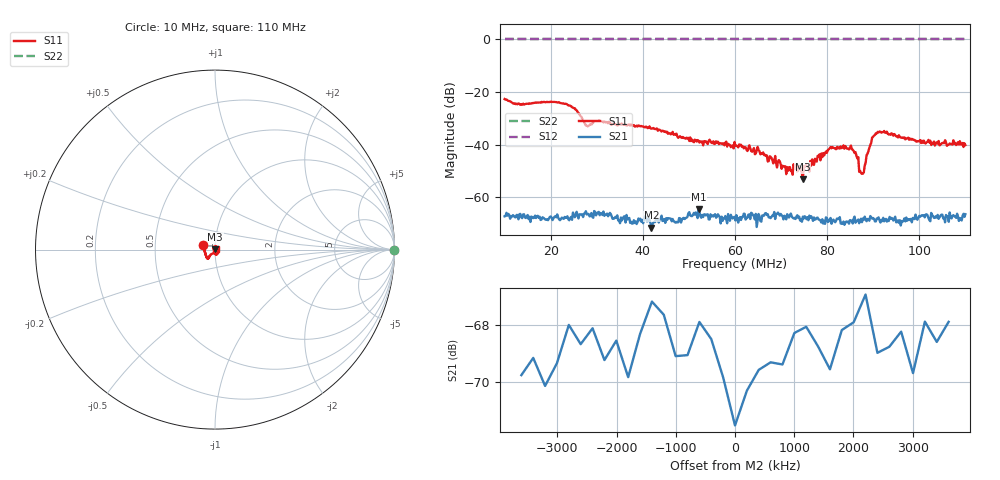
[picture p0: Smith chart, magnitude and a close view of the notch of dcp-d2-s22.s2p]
! Anritsu VNA Master:  Model: MS2034B/10/19/501
! SN:  1337062
! /bd0/ovro-jan-2016/dcp-d2-s22.s2p
! Existing Calibration Information:
! TYPE:  Current Settings,  Active Cal Settings
! TIME:  01/08/2016 09:02:06 PM,  01/08/2016 08:43:08 PM
! INTERNAL TEMP:  42.8 C,  45.0 C
! # POINTS:  500,  500
! START FREQ:  10.000 MHz,  10.000 MHz
! STOP FREQ:  110.000 MHz,  110.000 MHz
! SOURCE POWER:  Low,  Low
! IFBW:  100 Hz,  100 Hz
! AVG FACTOR:  3 ,  3
! REF PLANE 1:  2.2245 m,  2.2245 m
! REF PLANE 2:  0 mm,  0 mm
! CAL TYPE:  1P2P S11,S21,  1P2P S11,S21
! CAL METHOD:  SOLT,  SOLT
! CAL LINE TYPE:  Coax,  Coax
! DUT PORT 1:  K-Conn(M),  K-Conn(M)
! DUT PORT 2:  N-Conn(M),  N-Conn(M)
! CAL STATUS:  OK: Accuracy High,  --
# GHZ S DB R 50.0
! FREQ.GHZ  S11DB  S11A  S21DB  S21A  S12DB  S12A  S22DB  S22A
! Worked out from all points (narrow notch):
!   500 points, 10 MHz to 110 MHz, reference 50 ohm
!   highest |S21| = -64.46 dB at 52.08 MHz (marker M1); lowest = -71.5 dB at 41.86 MHz (marker M2)
!   notch at M2: 3.7 dB deep, 604 kHz wide at half that depth
!   lowest |S11| = -53.1 dB at 74.73 MHz (marker M3), VSWR 1.00, Z = 50 + j0.22 ohm
!   |S11| at or under -10 dB: start of sweep to end of sweep
!   |S22| runs from 0.0 to 0.0 dB; largest |S21 - S12| = 1
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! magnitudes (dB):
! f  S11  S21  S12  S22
! 10 MHz  -22.7  -67.2  0.0  0.0
! 23.23 MHz  -24.6  -67.8  0.0  0.0
! 26.83 MHz  -30.1  -66.5  0.0  0.0
! 28.04 MHz  -33.1  -66.3  0.0  0.0
! 30.44 MHz  -30.9  -65.5  0.0  0.0
! 41.86 MHz  -34.0  -71.5  0.0  0.0
! 43.47 MHz  -34.4  -69.6  0.0  0.0
! 47.27 MHz  -35.8  -69.3  0.0  0.0
! 52.08 MHz  -38.6  -64.5  0.0  0.0
! 60.1 MHz  -40.5  -68.8  0.0  0.0
! 65.11 MHz  -42.1  -66.3  0.0  0.0
! 66.71 MHz  -44.3  -66.0  0.0  0.0
! 71.12 MHz  -51.2  -68.4  0.0  0.0
! 74.73 MHz  -53.1  -67.3  0.0  0.0
! 76.73 MHz  -45.7  -67.8  0.0  0.0
! 80.94 MHz  -41.4  -70.0  0.0  0.0
! 84.95 MHz  -41.3  -68.6  0.0  0.0
! 86.35 MHz  -44.2  -69.1  0.0  0.0
! 87.56 MHz  -51.1  -69.4  0.0  0.0
! 90.16 MHz  -36.6  -68.2  0.0  0.0
! 93.37 MHz  -36.1  -69.0  0.0  0.0
! 110 MHz  -40.2  -66.4  0.0  0.0
